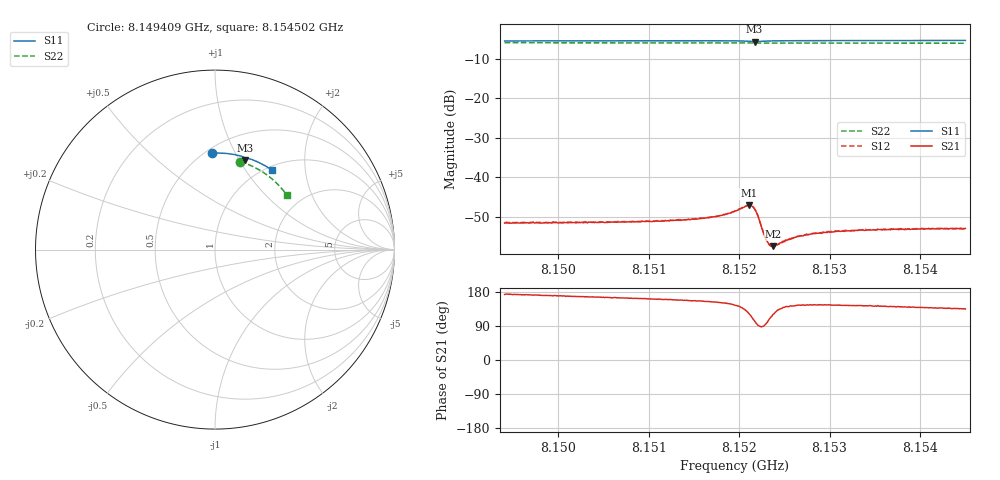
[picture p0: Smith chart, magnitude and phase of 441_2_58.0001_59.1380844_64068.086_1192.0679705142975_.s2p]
#  HZ  S  RI  R  50.00
! Rohde & Schwarz Vector Network Analyzer
! Rohde-Schwarz,ZNB20-2Port,1311601062101988,3.16
! Created: UTC 3/21/2024, 1:10:03 AM
! freq[Hz]  re:S11  im:S11  re:S21  im:S21  re:S12  im:S12  re:S22  im:S22
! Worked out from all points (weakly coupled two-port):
!   401 points, 8.149409 GHz to 8.154502 GHz, reference 50 ohm
!   highest |S21| = -47.16 dB at 8.152108 GHz (marker M1); lowest = -57.5 dB at 8.152375 GHz (marker M2)
!   lowest |S11| = -5.6 dB at 8.152172 GHz (marker M3), VSWR 3.23, Z = 38.4 + j53.1 ohm
!   |S11| at or under -10 dB: nowhere
!   |S22| runs from -6.0 to -5.8 dB; largest |S21 - S12| = 0.00012
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8.1494089e9  -0.0164 0.5372  -0.00259 0.000321  -0.00262 0.000342  0.1419 0.4903
8.150262e9  0.0431 0.5371  -0.00261 0.000603  -0.00258 0.000629  0.1933 0.4711
8.151115e9  0.1022 0.5304  -0.00261 0.000903  -0.00262 0.000974  0.2421 0.4466
8.1514079e9  0.1227 0.5264  -0.00267 0.00111  -0.00264 0.00116  0.2583 0.437
8.151688e9  0.1426 0.5215  -0.00279 0.00137  -0.00277 0.00142  0.2733 0.4272
8.151828e9  0.1527 0.5181  -0.00292 0.00163  -0.00291 0.00168  0.2807 0.4222
8.1519553e9  0.1624 0.5139  -0.00303 0.00215  -0.00303 0.00219  0.2872 0.4173
8.1521081e9  0.1712 0.5033  -0.00238 0.00368  -0.00239 0.00374  0.2948 0.4112
8.1521463e9  0.1699 0.5002  -0.00153 0.00399  -0.00148 0.00406  0.2965 0.4098
8.1521718e9  0.1683 0.4996  -0.000853 0.00386  -0.000799 0.0039  0.2976 0.4089
8.15221e9  0.1665 0.5014  -9.04e-05 0.00319  -3.43e-05 0.00322  0.2995 0.4075
8.1522736e9  0.1691 0.506  1.8e-05 0.0019  1.59e-05 0.00193  0.3029 0.4052
8.1522991e9  0.1713 0.5072  -0.000158 0.0016  -0.000191 0.0016  0.3042 0.4044
8.1523373e9  0.1747 0.5082  -0.00045 0.00129  -0.000431 0.00131  0.3061 0.4029
8.1523755e9  0.1782 0.5081  -0.000669 0.00115  -0.000647 0.00117  0.3081 0.4014
8.1525792e9  0.1945 0.5052  -0.0013 0.001  -0.00133 0.00103  0.318 0.3932
8.1526683e9  0.2009 0.5032  -0.00146 0.00102  -0.00144 0.00108  0.3223 0.3895
8.1528084e9  0.2107 0.4997  -0.00156 0.0011  -0.00157 0.0011  0.329 0.3836
8.1531521e9  0.2334 0.4904  -0.00168 0.00121  -0.00168 0.00121  0.3448 0.3687
8.1533431e9  0.2455 0.4848  -0.00172 0.00125  -0.00169 0.00129  0.3532 0.3601
8.1536614e9  0.2652 0.4749  -0.00167 0.00137  -0.00168 0.00138  0.367 0.3455
8.1545017e9  0.3151 0.445  -0.00157 0.00159  -0.00158 0.00158  0.3999 0.3043
